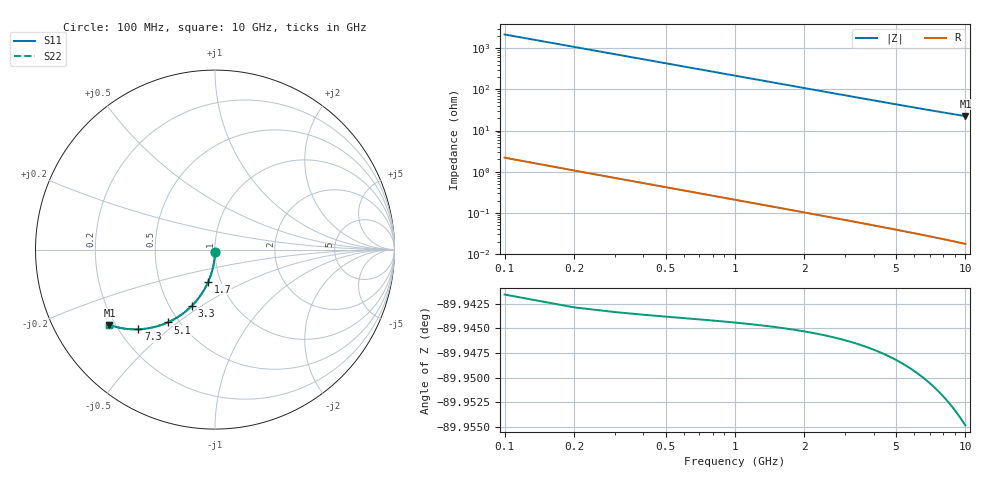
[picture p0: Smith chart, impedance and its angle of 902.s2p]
# Hz S RI R 50.00
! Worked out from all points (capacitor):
!   100 points, 100 MHz to 10 GHz, reference 50 ohm
!   read as one part in shunt: C = 739 fF near 100 MHz
!   lowest |Z| = 22.5 ohm at 10 GHz (marker M1)
!   S11 on the Smith chart (normalised r, x): 100 MHz: 1.00, -0.02; 1.7 GHz: 0.87, -0.32; 3.3 GHz: 0.65, -0.46; 5.1 GHz: 0.43, -0.46; 7.3 GHz: 0.28, -0.40; 10 GHz: 0.18, -0.31
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1e8  1.81e-06 -0.0109  0.9997 -0.0123  0.9997 -0.0123  1.81e-06 -0.0109
2e8  -0.000411 -0.0218  0.9993 -0.0245  0.9993 -0.0245  -0.000411 -0.0218
3e8  -0.00109 -0.0328  0.9986 -0.0368  0.9986 -0.0368  -0.00109 -0.0328
4e8  -0.00204 -0.0436  0.9976 -0.049  0.9976 -0.049  -0.00204 -0.0436
5e8  -0.00325 -0.0545  0.9964 -0.0612  0.9964 -0.0612  -0.00325 -0.0545
6e8  -0.00473 -0.0653  0.9949 -0.0734  0.9949 -0.0734  -0.00473 -0.0653
8e8  -0.00847 -0.0867  0.9912 -0.0975  0.9912 -0.0975  -0.00847 -0.0867
9e8  -0.0107 -0.0973  0.9889 -0.1095  0.9889 -0.1095  -0.0107 -0.0973
1.1e9  -0.016 -0.1183  0.9836 -0.1332  0.9836 -0.1332  -0.016 -0.1183
1.4e9  -0.0257 -0.149  0.9738 -0.168  0.9738 -0.168  -0.0257 -0.149
1.7e9  -0.0375 -0.1787  0.9619 -0.2017  0.9619 -0.2017  -0.0375 -0.1787
1.8e9  -0.0419 -0.1884  0.9575 -0.2127  0.9575 -0.2127  -0.0419 -0.1884
2.1e9  -0.0563 -0.2164  0.943 -0.2448  0.943 -0.2448  -0.0563 -0.2164
2.5e9  -0.078 -0.2515  0.9211 -0.2854  0.9211 -0.2854  -0.078 -0.2515
3.3e9  -0.129 -0.313  0.8697 -0.3579  0.8697 -0.3579  -0.129 -0.313
3.4e9  -0.1359 -0.3198  0.8627 -0.3661  0.8627 -0.3661  -0.1359 -0.3198
4.2e9  -0.1943 -0.3673  0.8037 -0.4246  0.8037 -0.4246  -0.1943 -0.3673
5.1e9  -0.2635 -0.4058  0.7337 -0.4757  0.7337 -0.4757  -0.2635 -0.4058
6.7e9  -0.3846 -0.4402  0.6108 -0.5328  0.6108 -0.5328  -0.3846 -0.4402
7.3e9  -0.427 -0.4439  0.5675 -0.5451  0.5675 -0.5451  -0.427 -0.4439
8.4e9  -0.4989 -0.4408  0.4939 -0.5581  0.4939 -0.5581  -0.4989 -0.4408
1e10  -0.5883 -0.42  0.4013 -0.5613  0.4013 -0.5613  -0.5883 -0.42
